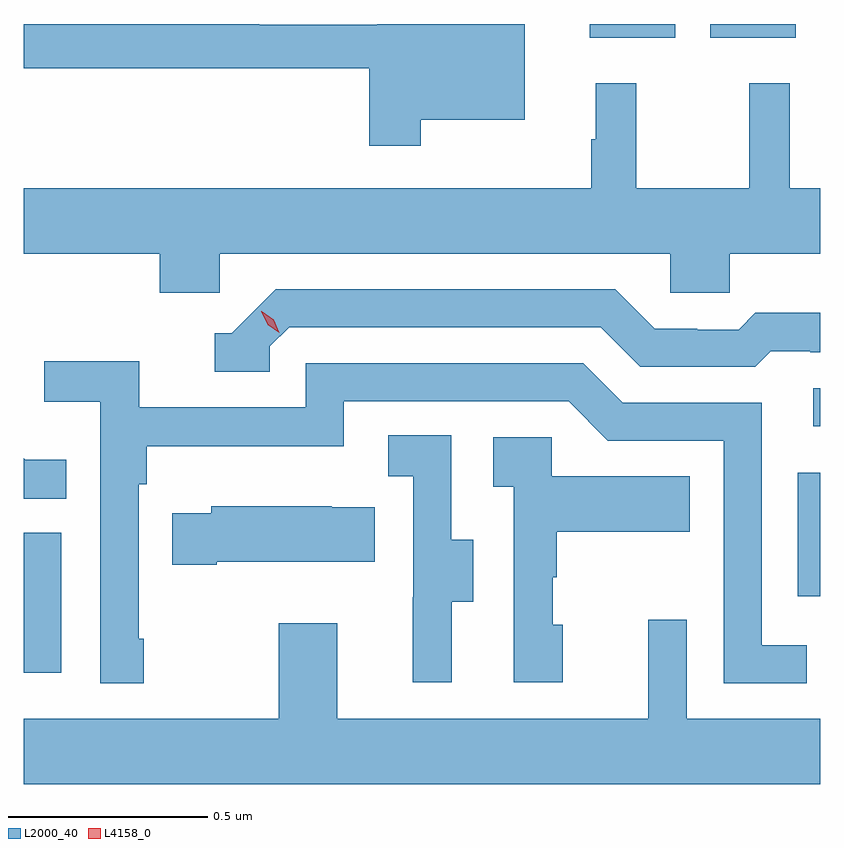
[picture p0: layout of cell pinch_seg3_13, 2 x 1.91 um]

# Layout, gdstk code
import gdstk
lib = gdstk.Library(unit=1e-6, precision=1e-09)
def R(c, l, rs):  # rectangles x0, y0, x1, y1
    for r in rs: c.add(gdstk.rectangle(r[:2], r[2:], *l))
def P(c, l, *ps):  # polygons
    for p in ps: c.add(gdstk.Polygon(p, *l))
L2000_40 = (2000, 40)
L4158_0 = (4158, 0)

pinch_seg3_13 = lib.new_cell('pinch_seg3_13')
R(pinch_seg3_13, L2000_40, [(1125.114,734.496,1125.208,734.847), (1127.058,734.688,1127.114,734.998), (1127.097,735.114,1127.114,735.21), (1126.535,736.091,1126.75,736.125), (1126.838,736.091,1127.053,736.125)])
P(pinch_seg3_13, L2000_40, [(1126.111,735.884),(1126.372,735.884),(1126.372,736.125),(1126.001,736.125),(1126.001,736.123),(1125.705,736.123),(1125.705,736.125),(1125.114,736.125),(1125.114,736.014),(1125.982,736.014),(1125.982,735.819),(1126.111,735.819)],
  [(1125.606,735.548),(1126.737,735.548),(1126.737,735.45),(1126.887,735.45),(1126.887,735.548),(1127.114,735.548),(1127.114,735.712),(1127.038,735.712),(1127.038,735.976),(1126.936,735.976),(1126.936,735.712),(1126.652,735.712),(1126.652,735.976),(1126.55,735.976),(1126.55,735.836),(1126.539,735.836),(1126.539,735.712),(1125.114,735.712),(1125.114,735.548),(1125.455,735.548),(1125.455,735.45),(1125.606,735.45)],
  [(1125.732,735.315),(1125.78,735.363),(1126.563,735.363),(1126.662,735.264),(1126.951,735.264),(1126.99,735.303),(1127.089,735.303),(1127.089,735.3),(1127.114,735.3),(1127.114,735.4),(1126.951,735.4),(1126.909,735.357),(1126.806,735.357),(1126.806,735.36),(1126.699,735.36),(1126.6,735.459),(1125.747,735.459),(1125.636,735.348),(1125.593,735.348),(1125.593,735.252),(1125.732,735.252)],
  [(1125.415,734.581),(1125.402,734.581),(1125.402,734.969),(1125.422,734.969),(1125.422,735.065),(1125.918,735.065),(1125.918,735.177),(1126.482,735.177),(1126.581,735.078),(1126.872,735.078),(1126.872,734.469),(1127.081,734.469),(1127.081,734.565),(1126.968,734.565),(1126.968,735.174),(1126.618,735.174),(1126.519,735.273),(1125.822,735.273),(1125.822,735.162),(1125.404,735.162),(1125.404,735.278),(1125.165,735.278),(1125.165,735.176),(1125.306,735.176),(1125.306,734.469),(1125.415,734.469)],
  [(1126.189,734.674),(1126.243,734.674),(1126.243,734.829),(1126.188,734.829),(1126.188,735.092),(1126.029,735.092),(1126.029,734.989),(1126.092,734.989),(1126.092,734.685),(1126.091,734.685),(1126.091,734.472),(1126.189,734.472)],
  [(1126.468,734.616),(1126.443,734.616),(1126.443,734.735),(1126.453,734.735),(1126.453,734.849),(1126.787,734.849),(1126.787,734.989),(1126.44,734.989),(1126.44,735.087),(1126.293,735.087),(1126.293,734.963),(1126.344,734.963),(1126.344,734.472),(1126.468,734.472)],
  [(1125.221,735.031),(1125.117,735.031),(1125.114,735.034),(1125.114,734.932),(1125.221,734.932)],
  [(1125.598,734.774),(1125.995,734.774),(1125.995,734.911),(1125.887,734.911),(1125.887,734.914),(1125.585,734.914),(1125.585,734.896),(1125.487,734.896),(1125.487,734.767),(1125.598,734.767)],
  [(1127.114,734.38),(1126.779,734.38),(1126.779,734.629),(1126.682,734.629),(1126.682,734.38),(1125.901,734.38),(1125.901,734.62),(1125.754,734.62),(1125.754,734.38),(1125.114,734.38),(1125.114,734.216),(1127.114,734.216)])
P(pinch_seg3_13, L4158_0, [(1125.756,735.349),(1125.726,735.369),(1125.71,735.402),(1125.71,735.403),(1125.711,735.403),(1125.741,735.382),(1125.756,735.349),(1125.756,735.349)])

lib.write_gds('pinch_seg3_13.gds')
